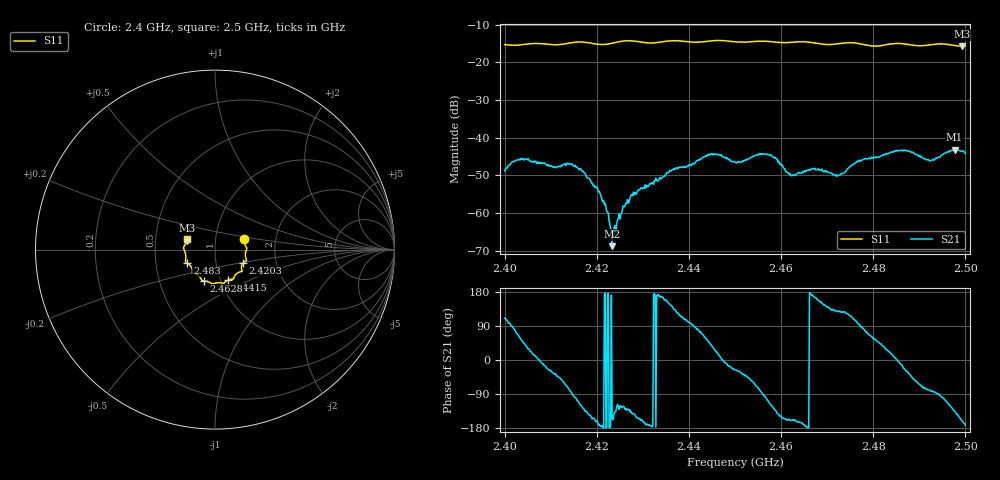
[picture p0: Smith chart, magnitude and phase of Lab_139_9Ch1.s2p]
# Hz S RI R 50
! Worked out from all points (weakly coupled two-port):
!   601 points, 2.4 GHz to 2.5 GHz, reference 50 ohm
!   highest |S21| = -43.16 dB at 2.4977 GHz (marker M1); lowest = -68.8 dB at 2.4233 GHz (marker M2)
!   lowest |S11| = -15.7 dB at 2.4993 GHz (marker M3), VSWR 1.39, Z = 36.4 + j3.68 ohm
!   |S11| at or under -10 dB: start of sweep to end of sweep
!   S12 and S22 are empty: the file has one direction only
!   S11 on the Smith chart (normalised r, x): 2.4 GHz: 1.38, +0.16; 2.4203 GHz: 1.35, -0.21; 2.4415 GHz: 1.09, -0.38; 2.4628 GHz: 0.83, -0.30; 2.483 GHz: 0.73, -0.11; 2.5 GHz: 0.73, +0.09
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2.4e9  0.1624 0.0564  -0.00125 0.00339  0 0  0 0
2.404e9  0.1708 0.019  0.0036 0.00387  0 0  0 0
2.416667e9  0.1753 -0.0619  -0.00185 -0.00315  0 0  0 0
2.420333e9  0.1562 -0.0749  -0.00188 -0.000379  0 0  0 0
2.422e9  0.1486 -0.0888  -0.00118 -7.52e-06  0 0  0 0
2.423333e9  0.1476 -0.1016  -0.000328 -0.000154  0 0  0 0
2.427667e9  0.1486 -0.122  -0.00139 -0.00109  0 0  0 0
2.433333e9  0.1085 -0.1479  -0.00267 0.000318  0 0  0 0
2.4415e9  0.0735 -0.1692  0.000413 0.00476  0 0  0 0
2.445333e9  0.0507 -0.1868  0.00521 0.00318  0 0  0 0
2.45e9  0.0295 -0.1846  0.00427 -0.00206  0 0  0 0
2.457333e9  -0.0198 -0.1879  -0.00209 -0.00558  0 0  0 0
2.462833e9  -0.0623 -0.1744  -0.00297 -0.0011  0 0  0 0
2.466667e9  -0.0755 -0.1671  -0.00377 0.000618  0 0  0 0
2.4725e9  -0.114 -0.135  -0.00195 0.00245  0 0  0 0
2.483e9  -0.1537 -0.0766  0.0056 0.00261  0 0  0 0
2.483333e9  -0.1561 -0.0752  0.00566 0.0024  0 0  0 0
2.487333e9  -0.1635 -0.0581  0.00588 -0.00333  0 0  0 0
2.492667e9  -0.1717 -0.00188  0.000644 -0.00494  0 0  0 0
2.497667e9  -0.1642 0.0305  -0.00491 -0.00492  0 0  0 0
2.499333e9  -0.1559 0.0493  -0.00624 -0.00216  0 0  0 0
2.5e9  -0.1541 0.0578  -0.00608 -0.000855  0 0  0 0
